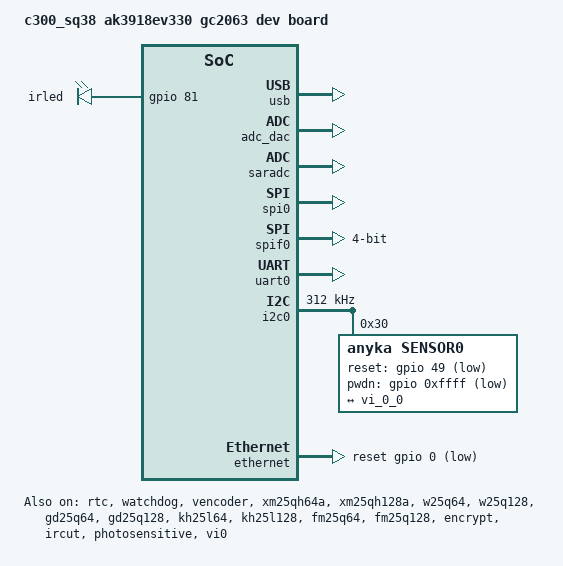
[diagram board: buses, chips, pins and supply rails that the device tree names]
/*
 * cloud39ev3 ak39ev330 dev board dts
 *
 * Copyright (C) 2020 Anyka(Guangzhou) Microelectronics Technology Co., Ltd.
 *
 * This program is free software; you can redistribute it and/or modify
 * it under the terms of the GNU General Public License as published by
 * the Free Software Foundation; either version 2 of the License, or
 * (at your option) any later version.
 *
 * This program is distributed in the hope that it will be useful,
 * but WITHOUT ANY WARRANTY; without even the implied warranty of
 * MERCHANTABILITY or FITNESS FOR A PARTICULAR PURPOSE.  See the
 * GNU General Public License for more details.
 */

/dts-v1/;
#include "anycloud_ak39ev330.dtsi"
#include "anycloud_ak39ev330_norflash.dtsi"

/ {
    compatible = "anyka,ak3918ev330";
    model = "c300_sq38 ak3918ev330 gc2063 dev board";
	version = "V1.0.00";
};

&gpio {
    /* anyka,function sharepin func index according to table 2-1 sharepin-list */
    /* index: 0: FUNCTION0, 1: FUNCTION1, 2: FUNCTION2, 3: FUNCTION3, 4: FUNCTION4 */
    /* anyka,pull config value bit[7:0]--pupd config */
    /* bit[7:0]--pupd config, bit[7]:reserved, bit[6:4] 1:enable/ 0:disable, bit[3:0] 0:select PU /1:select PD */

    ircut_pins: ircut_pins {
        anyka,pins = <41 42>;
        anyka,function = <0>;
        anyka,pull = <0x00000010>;
    };

    dvp0_12bits_pins: dvp0_12bits_pins {
        anyka,pins = <6 7 8 9 64 65 66 67 68 69 70 71 72 73 74 75>;
        anyka,function = <0>;
        anyka,pull = <0x00000001>;
    };

    dvp0_10bits_pins: dvp0_10bits_pins {
        anyka,pins = <8 9 64 65 66 67 68 69 70 71 72 73 74 75>;
        anyka,function = <0>;
        anyka,pull = <0x00000001>;
    };

    dvp0_8bits_pins: dvp0_8bits_pins {
        anyka,pins = <64 65 66 67 68 69 70 71 72 73 74 75>;
        anyka,function = <0>;
        anyka,pull = <0x00000001>;
    };

    mipi0_2lane_pins: mipi0_2lane_pins {
        anyka,pins = <70 71 72 73 74 75>;
        anyka,function = <3 3 3 2 2 2>;
        anyka,pull = <0x00000010>;
    };

    mipi0_1lane_pins: mipi0_1lane_pins {
		/*H3B 1lane时不支持lane1用作其他用途，所以这里按照2lane配置*/
        anyka,pins = <70 71 72 73 74 75>;
        anyka,function = <3 3 3 2 2 2>;
        anyka,pull = <0x00000010>;
    };

    csi0_sclk_pin: csi0_sclk_pin {
        anyka,pins = <64>;
        anyka,function = <0>;
        anyka,pull = <0x00000001>;
    };

    csi1_sclk_pin: csi1_sclk_pin {
        anyka,pins = <3>;
        anyka,function = <2>;
        anyka,pull = <0x00000001>;
    };

    i2c0_pins: i2c0_pins {
        anyka,pins = <27 28>;
        anyka,function = <1>;
        anyka,pull = <0x00000010>;
        //anyka,pull = <0x01011110>;
    };

    mci0_pins: mci0_pins {
        /* 4 line */
        /*
        anyka,pins = <31 32 33 34 35 36>;
        anyka,function = <1>;
        anyka,pull = <0x00000010>;*/

        /* 1 line */
        anyka,pins = <31 32 33>;
        anyka,function = <1>;
        anyka,pull = <0x00000010>;
    };

    tf_det_pins:tf_det_pins{
        anyka,pins = <80>;
        anyka,function = <0>;
        anyka,pull = <0x00000010>;
    };




    spiflash_pins: spiflash_pins {
        anyka,pins = <25 26 35 36 34 79>; /* 4 LINE mode */
        anyka,function = <1 1 2 2 2 1>;
        anyka,pull = <0x00000010>;
    };

	

    /*speak_en and linein_detect gpio setting */
    speak_pins: speak_pins {
        anyka,pins = <82>;
        anyka,function = <0>;
        anyka,pull = <0x00000010>;
    };

    uart0_pins: uart0_pins {
        anyka,pins = <1 2>;
        anyka,function = <1>;
        anyka,pull = <0x00000010>;
    };
    uart1_pins: uart1_pins {
        anyka,pins = <0 5>;
        anyka,function = <2>;
        anyka,pull = <0x00000010>;
    };

	phy_reset_pins: phy_reset_pins {
		anyka,pins = <0>;
	    anyka,function = <0>;
        anyka,pull = <0x00000010>;
    };

	/*
	* RMII_MDC(GPIO[10]),RMII_MDIO(GPIO[11]),RMII_TXEN(GPIO[13]),RMII_TXD[0](GPIO[14]), RMII_TXD[1](GPIO15)
	* RMII_RXD[0](GPIO[19]), RMII_RXD[1](GPIO[20]), RMII_RXER(GPIO[23]), RMII_RXDV(GPIO[24]), RMII_50M(OPCLK, GPIO[47])
	*/
    ethernet_pins_rmii: ethernet_pins_rmii {
		anyka,pins 		= <10 11 13 14 15 19 20 23 24 47>;
        anyka,function 	= <1>;
        anyka,pull = <0x00000011 0x00000010 0x00000011 0x00000011 0x00000011 0x00000011 0x00000011 0x00000011 0x00000011 0x00000001>;
    };
         led_pins:led_pins{
         anyka,pins = <81>;
         anyka,function = <0>;
         anyka,pull = <0x00000010>;
    };
};

&rtc {
	 /*
	  * rtc osc_source_select, 1 means INTERNAL RC OSC, 0 means EXTERNAL XTAL
	  * if internal RC OSC is used to generate 32KH,time adjustment should be setting.(basic unit: ms)
	  */
	 osc-select = <1>;
	 adjust-time = <120000>;
   status = "okay";
};

&watchdog {
	/*max feed dog time = 357s, default setting time = 10s. */
    def_heartbeat = <10>;
    status = "okay";
};

&vencoder {
    status = "okay";
};

&usb {
    status = "okay";
};

&mmc0 {
    bus-width = <0x1>;
    max-frequency = <50000000>;
    /*
     *  detect mode:
     *  (1) non-removable;
     *  (2) detect-gpio/detect-gpios: card detect using gpio
     *      for example:
     *      detect-gpio = <&gpio 77 1>;  or detect-gpios = <&gpio 77 1>;
     *  (3) cd_clk: card detect using MCLK
     *  default is non-removable
     */
    detect-gpio = <&gpio 80 1>;
    /* if support highspeed, using cap-sd-highspeed */
    cap-sd-highspeed;
    pinctrl-names = "default";
    pinctrl-0 = <&mci0_pins>, <&tf_det_pins>;
    status = "disable";
};


&adc_dac {
    pinctrl-names = "default";
    pinctrl-0 = <&speak_pins>;
    /* speak-gpios is which speak_en_pins describes */
    speak-gpios = <&gpio 82 1>;
    /* the level of speak-gpios votage for power on audio: 0=low, 1=high*/
    speak-gpios-en = <1>;
    status = "okay";

    dev0 {
        snd-dev = <SND_CARD_DAC_PLAYBACK>;
        snd-type = <AK_PCM_DEV_PLAYBACK>;
        snd-idx = <0>;
    };

    dev1 {
        snd-dev = <SND_CARD_ADC_CAPTURE>;
        snd-type = <AK_PCM_DEV_CAPTURE>;
        snd-idx = <0>;
    };

    dev2 {
        snd-dev = <SND_CARD_DAC_LOOPBACK>;
        snd-type = <AK_PCM_DEV_LOOPBACK>;
        snd-idx = <0>;
    };
};

&saradc{
    /* SAR ADC VREF selection
    * 0:To select AVCC 3.3V as VREF for SAR ADC.
    * 1:To select 3.0V generated from BGR as VREF for SAR ADC.
    */
    vref-select = <1>;
    /*
    * 0:To disable BAT voltage divider.
    * 1:To enable BAT voltage divider divided by 2.
    */
    battery-divider = <1>;
    /*
    * Sampling number
    * Read the sampling data for N times and then calculate the average value.
    * N ranges from 1 to 7.
    */
     sampling-num = <3>;
     status = "okay";
};

&spi0 {
    pinctrl-names = "default";
    pinctrl-0 = <&spiflash_pins>;
    cs-gpios = <&gpio 25 1>;
    status = "okay";
};

&spif0 {
	/* spi flash data bus width:
	** 1 means 1 wire mode.
	** 2 means 2 wire mode
	** 4 means 4 wire mode.
	** default: 4 wire mode.
	**/
	bus-width = <4>;
	status = "okay";
};

&xm25qh64a{
    status = "okay";
};

&xm25qh128a{
    status = "okay";
};

&w25q64{
    status = "okay";
};

&w25q128{
    status = "okay";
};

&gd25q64{
    status = "okay";
};

&gd25q128{
    status = "okay";
};
&kh25l64{
    status = "okay";
};

&kh25l128{
    status = "okay";
};

&fm25q64{
    status = "okay";
};

&fm25q128{
    status = "okay";
};

&uart0 {
    pinctrl-names = "default";
	pinctrl-0 = <&uart0_pins>;
    status = "okay";
};

&uart1 {
    pinctrl-names = "default";
	pinctrl-0 = <&uart1_pins>;
    status = "disable";
};

&i2c0 {
    pinctrl-names = "default";
    pinctrl-0 = <&i2c0_pins>;

    clock-frequency = <312000>;
    sda-delay = <100>;
    status = "okay";
	#address-cells = <1>;
	#size-cells = <0>;

	sensor0: camera@0x30{
		compatible = "anyka,sensor0";
		reg = <0x30>;

		/*0xffff means the gpio is invalid*/
		reset-gpio = <&gpio 49 1>;
		pwdn-gpio = <&gpio 0xffff 1>;

		port {
			sensor0_0: endpoint@0 {
				remote-endpoint = <&vi_0_0>;
			};
		};
	};
};

&i2c1 {
    pinctrl-names = "default";
    //pinctrl-0 = <&i2c1_pins>;

    clock-frequency = <312000>;
    sda-delay = <100>;
    status = "disable";
};

&i2c2 {
    pinctrl-names = "default";
    //pinctrl-0 = <&i2c2_pins>;

    clock-frequency = <312000>;
    sda-delay = <100>;
    status = "disable";
};

&encrypt{
   /*
    * encrypt-mode
    * 0 = CRYPTO_SINGLE_GROUP_MODE ; 1 = CRYPTO_MULTI_GROUP_MODE
    */
    encrypt-mode = <1>;
    status = "okay";
};

&ethernet {
    pinctrl-names = "default";
    pinctrl-0 = <&ethernet_pins_rmii &phy_reset_pins>;
    reset-gpios = <&gpio 0 1>;
	phy-address = <1>;
    status = "okay";
};

&ircut {
    pinctrl-names = "default";
    pinctrl-0 = <&ircut_pins>;

	ircut-a = "42";
	ircut-b = "41";
	/*set the level for day mode. range: 0, 1*/
	ircut-a-day-level = "0";
	ircut-b-day-level = "1";
	status = "okay";
};

&photosensitive {
    //pinctrl-names = "default";
    //pinctrl-0 = <&photosensitive_pins>;

    /*range: saradc~1, gpio number*/
    photosensitive-port = "saradc0";
    /*the level for day mode, range: low, high*/
    photosensitive-day-level = "high";
    photosensitive-higher-level = "900";
    photosensitive-lower-level = "400";
	status = "okay";
};

&leds {
    pinctrl-names = "default";
    pinctrl-0 = <&led_pins>;
    status = "okay";

    ir_led {
        label = "irled";
        gpios = <&gpio 81 GPIO_ACTIVE_HIGH>;
    };
};

&adkeys {
	status = "disable";
};

&motor0 {
	/*
	 * part-number: part name
	 * pwm-tbl-cw: pwm table int clkwise
	 * pwm-pins: gpio list to motor
	 * steps-one-circle: total steps one circle (360degree)
	 *
	 * total-steps:	total steps the motor can run
	 * boundary-steps: reserve some step for each boudary
	 * attach-timer: timer for the motor
	 *					NOTE: different motor attach different timer
	 *
	 * speed-step: speed in step
	 */

	pinctrl-names = "default";
	//pinctrl-0 = <&motor0_pins>;

	part-number = "HZF-24BYJ48";
	pwm-tbl-cw = <0x09 0x01 0x03 0x02 0x06 0x04 0x0c 0x08>;
	pwm-pins = <68 9 8 7>;
	steps-one-circle = <4096>;
	total-steps = <2500>;
	boundary-steps = <50>;
	attach-timer = <2>;

	speed-step = <200>;

	status = "disable";
};

&motor1 {
	/*
	 * part-number: part name
	 * pwm-tbl-cw: pwm table int clkwise
	 * pwm-pins: gpio list to motor
	 * steps-one-circle: total steps one circle (360degree)
	 *
	 * total-steps:	total steps the motor can run
	 * boundary-steps: reserve some step for each boudary
	 * attach-timer: timer for the motor
	 *					NOTE: different motor attach different timer
	 *
	 * speed-step: speed in step
	 */

	pinctrl-names = "default";
	//pinctrl-0 = <&motor1_pins>;

	part-number = "HZF-24BYJ48";
	pwm-tbl-cw = <0x09 0x01 0x03 0x02 0x06 0x04 0x0c 0x08>;
	pwm-pins = <6 67 66 65>;
	steps-one-circle = <4096>;

	total-steps = <600>;
	boundary-steps = <50>;
	attach-timer = <3>;

	speed-step = <200>;

	status = "disable";
};

&pwm0 {
	pinctrl-names = "default";

	//pinctrl-0 = <&pwm0_pins>;
	/*
	**frequency of PWM ranges from 92/256Hz(0.36Hz) to 6MHz.
	**duty of PWM ranges from 1 to 65535.
	**Minimum duty cycle:1/65536
	**Maximum duty cyscle:65535/65536.
	**period-ns: period of the PWM signal (in nanoseconds)
        **duty-ns: duty cycle of the PWM signal (in nanoseconds)
	**pwm-enable = 0 means disable pwm function.
	**pwm-enable = 1 means enable pwm function.
	*/
	period-ns = <1000000>;
	duty-ns = <500000>;
	pwm-enable = <1>;
	status = "disable";
};

&pwm1 {
	pinctrl-names = "default";

	//pinctrl-0 = <&pwm1_pins>;
	/*
	**frequency of PWM ranges from 92/256Hz(0.36Hz) to 6MHz.
	**duty of PWM ranges from 1 to 65535.
	**Minimum duty cycle:1/65536
	**Maximum duty cyscle:65535/65536.
	**period-ns: period of the PWM signal (in nanoseconds)
        **duty-ns: duty cycle of the PWM signal (in nanoseconds)
	**pwm-enable = 0 means disable pwm function.
	**pwm-enable = 1 means enable pwm function.
	*/
	period-ns = <1000000>;
	duty-ns = <500000>;
	pwm-enable = <1>;
	status = "disable";
};

&pwm2 {
	pinctrl-names = "default";

	//pinctrl-0 = <&pwm2_pins>;
	/*
	**frequency of PWM ranges from 92/256Hz(0.36Hz) to 6MHz.
	**duty of PWM ranges from 1 to 65535.
	**Minimum duty cycle:1/65536
	**Maximum duty cyscle:65535/65536.
	**period-ns: period of the PWM signal (in nanoseconds)
        **duty-ns: duty cycle of the PWM signal (in nanoseconds)
	**pwm-enable = 0 means disable pwm function.
	**pwm-enable = 1 means enable pwm function.
	*/
	period-ns = <1000000>;
	duty-ns = <500000>;
	pwm-enable = <1>;
	status = "disable";
};

&pwm3 {
	pinctrl-names = "default";

	//pinctrl-0 = <&pwm3_pins>;
	/*
	**frequency of PWM ranges from 92/256Hz(0.36Hz) to 6MHz.
	**duty of PWM ranges from 1 to 65535.
	**Minimum duty cycle:1/65536
	**Maximum duty cyscle:65535/65536.
	**period-ns: period of the PWM signal (in nanoseconds)
        **duty-ns: duty cycle of the PWM signal (in nanoseconds)
	**pwm-enable = 0 means disable pwm function.
	**pwm-enable = 1 means enable pwm function.
	*/
	period-ns = <1000000>;
	duty-ns = <500000>;
	pwm-enable = <1>;
	status = "disable";
};

&pwm4 {
	pinctrl-names = "default";
	//pinctrl-0 = <&pwm4_pins>;
	/*
	**frequency of PWM ranges from 92/256Hz(0.36Hz) to 6MHz.
	**duty of PWM ranges from 1 to 65535.
	**Minimum duty cycle:1/65536
	**Maximum duty cyscle:65535/65536.
	**period-ns: period of the PWM signal (in nanoseconds)
        **duty-ns: duty cycle of the PWM signal (in nanoseconds)
	**pwm-enable = 0 means disable pwm function.
	**pwm-enable = 1 means enable pwm function.
	*/
	period-ns = <1000000>;
	duty-ns = <500000>;
	pwm-enable = <1>;
	status = "disable";
};


&vi0{
	pinctrl-names = "dvp0_12bits", "dvp0_10bits", "dvp0_8bits",
		"mipi0_2lane", "mipi0_1lane",
		"csi0_sclk", "csi1_sclk";
    pinctrl-0 = <&dvp0_12bits_pins>;
    pinctrl-1 = <&dvp0_10bits_pins>;
    pinctrl-2 = <&dvp0_8bits_pins>;
    pinctrl-3 = <&mipi0_2lane_pins>;
    pinctrl-4 = <&mipi0_1lane_pins>;
    pinctrl-5 = <&csi0_sclk_pin>;
    pinctrl-6 = <&csi1_sclk_pin>;
    status = "okay";

	port@0 {
		#address-cells = <1>;
		#size-cells = <0>;

		vi_0_0: endpoint@0 {
			reg = <0>;
			remote-endpoint = <&sensor0_0>;
		};
	};
};
